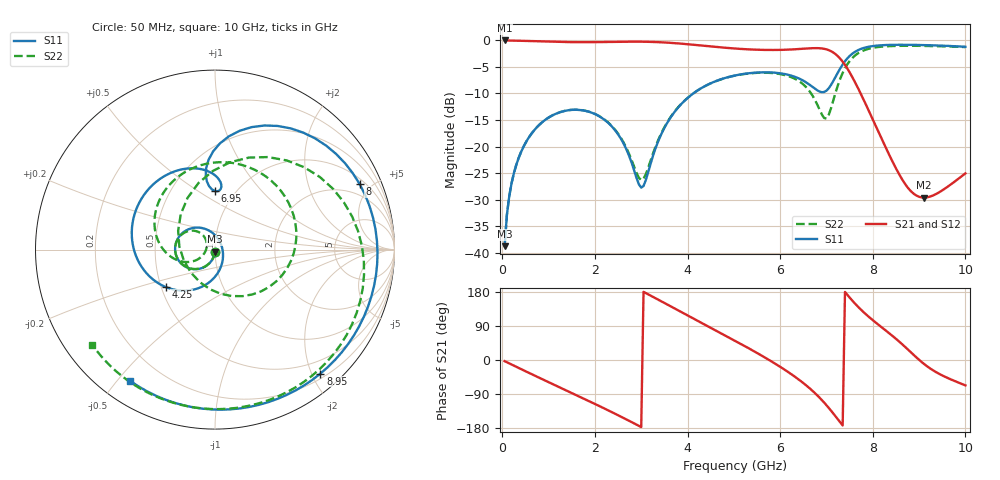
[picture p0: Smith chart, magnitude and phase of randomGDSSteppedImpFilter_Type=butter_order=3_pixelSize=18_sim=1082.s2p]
! freq	dB(S11)	phase(S11)	dB(S12)	phase(S12)
!  dB(S21)	phase(S21)	dB(S22)	phase(S22)
!S-par simulation data
#  GHz  S  DB  R 50
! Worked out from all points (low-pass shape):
!   200 points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, 50 MHz to 10 GHz, reference 50 ohm
!   highest |S21| = -0.01 dB at 50 MHz (marker M1); lowest = -29.6 dB at 9.1 GHz (marker M2)
!   |S21| within 3 dB of the highest: start of sweep to 7.25 GHz
!   lowest |S11| = -38.8 dB at 50 MHz (marker M3), VSWR 1.02, Z = 49.9 - j1.15 ohm
!   |S11| at or under -10 dB: start of sweep to 4.123 GHz
!   |S22| runs from -38.8 to -1.0 dB; largest |S21 - S12| = 0
!   S11 on the Smith chart (normalised r, x): 50 MHz: 1.00, -0.02; 4.25 GHz: 0.53, -0.25; 6.95 GHz: 0.80, +0.59; 8 GHz: 1.26, +4.26; 8.95 GHz: 0.27, -2.13; 10 GHz: 0.09, -0.54
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0.05  -38.77 -92.1  -0.01 -3.0  -0.01 -3.0  -38.76 -92.1
0.2  -26.92 -101.7  -0.03 -11.9  -0.03 -11.9  -26.91 -101.9
0.5  -19.34 -119.7  -0.09 -29.6  -0.09 -29.6  -19.34 -120.2
1.15  -13.85 -157.3  -0.27 -67.1  -0.27 -67.1  -13.84 -158.0
1.75  -13.20 167.7  -0.34 -101.4  -0.34 -101.4  -13.18 168.7
2.45  -17.09 120.8  -0.26 -142.7  -0.26 -142.7  -16.99 134.4
3  -27.74 18.2  -0.24 -177.0  -0.24 -177.0  -26.31 166.8
3.4  -18.31 -79.6  -0.34 157.1  -0.34 157.1  -18.12 -150.9
4.25  -9.24 -142.9  -0.92 101.5  -0.92 101.5  -9.24 163.9
5.05  -6.56 170.6  -1.54 49.2  -1.54 49.2  -6.59 107.0
5.95  -6.13 120.1  -1.79 -14.1  -1.79 -14.1  -6.27 32.6
6.35  -6.96 97.9  -1.65 -46.9  -1.65 -46.9  -7.38 -8.5
6.7  -8.76 84.5  -1.46 -81.5  -1.46 -81.5  -10.42 -59.4
6.95  -9.71 90.3  -1.58 -112.3  -1.58 -112.3  -14.62 -135.8
7.2  -6.80 96.2  -2.61 -149.2  -2.61 -149.2  -9.73 117.9
7.45  -3.40 78.2  -5.28 172.1  -5.28 172.1  -4.52 60.1
7.7  -1.76 52.9  -9.31 138.2  -9.31 138.2  -2.33 20.2
8  -1.07 24.4  -14.88 105.1  -14.88 105.1  -1.40 -14.7
8.35  -0.85 -4.9  -21.46 71.1  -21.46 71.1  -1.08 -45.1
8.95  -0.85 -49.7  -29.27 5.9  -29.27 5.9  -1.02 -85.3
9.1  -0.88 -60.2  -29.61 -9.8  -29.61 -9.8  -1.03 -94.0
10  -1.20 -122.8  -25.06 -67.0  -25.06 -67.0  -1.26 -142.3
